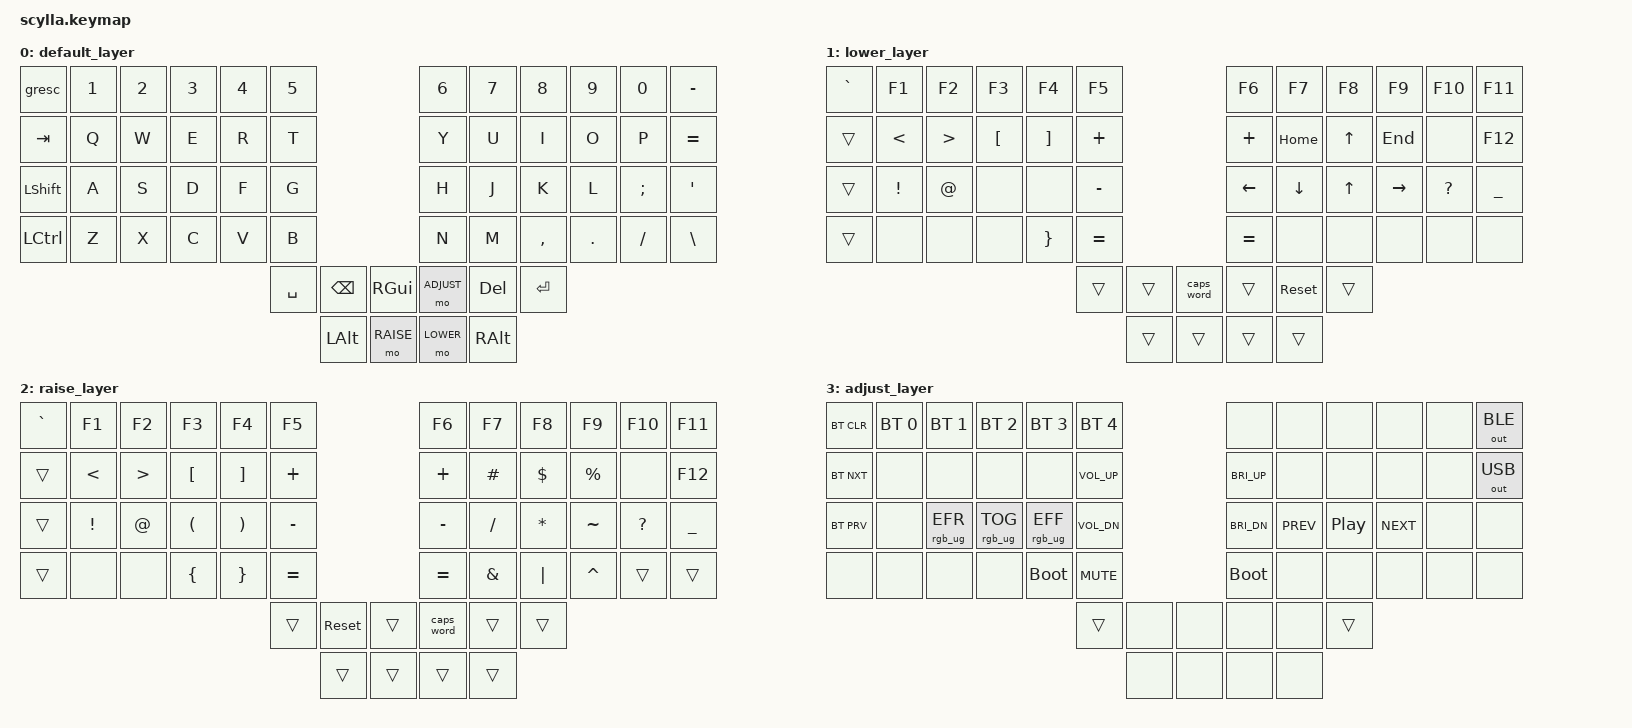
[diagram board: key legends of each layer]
/*
 * Copyright (c) 2022 Christian Eiden
 *
 * SPDX-License-Identifier: MIT
 */

#include <behaviors.dtsi>
#include <dt-bindings/zmk/keys.h>
#include <dt-bindings/zmk/bt.h>
#include <dt-bindings/zmk/outputs.h>
#include <dt-bindings/zmk/rgb.h>

#define DEFAULT 0
#define LOWER   1
#define RAISE   2
#define ADJUST  3

&caps_word {
    continue-list = <UNDERSCORE MINUS DEL BSPC LSHFT RSHFT>;
};

/ {

  // enable ADJUST Layer
  // conditional_layers {
   //   compatible = "zmk,conditional-layers";
   //   tri_layer {
   //       if-layers = <LOWER RAISE>;
   //       then-layer = <ADJUST>;
  //    };
  // };

  behaviors {

      // used for SPACE/SHIFT and ENTER/CMD
      omt: own_mod_tap {
        compatible = "zmk,behavior-hold-tap";
        label = "OWN_MOD_TAP";
        #binding-cells = <2>;
        flavor = "hold-preferred";
        tapping-term-ms = <160>;
        quick-tap-ms = <200>;
        bindings = <&kp>, <&kp>;
      };

      // used for Layers/BSPC/DEL
      olt: own_layer_tap {
        compatible = "zmk,behavior-hold-tap";
        label = "OWN_LAYER_TAP";
        #binding-cells = <2>;
        flavor = "hold-preferred";
        tapping-term-ms = <160>;
        quick-tap-ms = <200>;
        bindings = <&mo>, <&kp>;
      };
  };

  keymap {
    compatible = "zmk,keymap";

    default_layer {
// .-----------------------------------------.                                  .-----------------------------------------.
// | Esc  |   1  |   2  |   3  |   4  |   5  |                                  |   6  |   7  |   8  |   9  |   0  |  -   |
// |------+------+------+------+------+------|                                  |------+------+------+------+------+------|
// | Tab> |   Q  |   W  |   E  |   R  |   T  |                                  |   Y  |   U  |   I  |   O  |   P  |  +   |
// |------+------+------+------+------+------|                                  |------+------+------+------+------+------|
// | Shft |   A  |   S  |   D  |   F  |   G  |                                  |   H  |   J  |   K  |   L  |   ;  |  '   |
// |------+------+------+------+------+------|                                  |------+------+------+------+------+------|
// | Ctrl |   Z  |   X  |   C  |   V  |   B  |                                  |   N  |   M  |   ,  |  .   |   /  |   \  |
// '-----------------------------------------/                                  \-----------------------------------------'
//                                  /  Ctrl /---------------.    .---------------\  RGUI  \  
//                                 /       / SPACE / RAISE /      \ LOWER \ ENTER \        \ 
//                                '-------/       /       /        \       \       \--------'
//                                       /---------------/          \---------------\
//                                      /  ALT  /  BSPC /            \ADJUST \ RALT  \
//                                     /       /       /              \       \       \
//                                    '---------------'                '---------------'

      bindings = <
&gresc     &kp N1  &kp N2  &kp N3  &kp N4  &kp N5                                                  &kp N6     &kp N7  &kp N8     &kp N9   &kp N0     &kp MINUS
&kp TAB    &kp Q   &kp W   &kp E   &kp R   &kp T                                                   &kp  Y      &kp U   &kp I      &kp O    &kp P   &kp EQUAL 
&kp LSHFT   &kp A   &kp S   &kp D   &kp F   &kp G                                                   &kp H      &kp J   &kp K      &kp L    &kp SEMI   &kp SQT
&kp LCTRL  &kp Z   &kp X   &kp C   &kp V   &kp B                                                   &kp N      &kp M   &kp COMMA  &kp DOT  &kp SLASH  &kp BSLH
                                           &kp SPACE &kp BSPC &kp RGUI    &mo ADJUST  &kp DEL  &kp ENTER
                                                   &kp LALT   &mo RAISE   &mo LOWER    &kp RALT
      >;
    };

    lower_layer {
// .-----------------------------------------.                                  .-----------------------------------------.
// |   ~  |  F1  |  F2  |  F3  |  F4  |  F5  |                                  |  F6  |  F7  |  F8  |  F9  |  F10 |  F11 |
// |------+------+------+------+------+------|                                  |------+------+------+------+------+------|
// |      |  <   |  >   |   [  |   ]  |   +  |                                  |  +   | home |      | end  |      |  F12 |
// |------+------+------+------+------+------|                                  |------+------+------+------+------+------|
// |      |  !   |  @   |   (  |   )  |   -  |                                  |  up  | left | down | rght |  ?   |  _   |
// |------+------+------+------+------+------|                                  |------+------+------+------+------+------|
// |      |      |      |   {  |   }  |   =  |                                  |  =   |      |      |      |      |      |
// '-----------------------------------------/                                  \-----------------------------------------'
//                                  /       /---------------.    .---------------\   #   \
//                                 /       /       /  CAPS /      \       \ Reset \       \
//                                '-------/       /       /        \       \       \-------'
//                                       /---------------/          \---------------\
//                                      /       /       /            \       \  Boot \
//                                     /       /       /              \       \       \
//                                    '---------------'                '---------------'

      bindings = <
&kp GRAVE  &kp F1    &kp F2  &kp F3    &kp F4    &kp F5                                              &kp F6     &kp F7    &kp F8    &kp F9     &kp F10    &kp F11
&trans     &kp LT    &kp GT  &kp LBKT  &kp RBKT  &kp PLUS                                            &kp PLUS   &kp HOME  &kp UP    &kp END    &none      &kp F12
&trans     &kp EXCL  &kp AT  &none     &none     &kp MINUS                                           &kp LEFT   &kp DOWN  &kp UP    &kp RIGHT  &kp QMARK  &kp UNDER
&trans     &none     &none   &none     &kp RBRC  &kp EQUAL                                           &kp EQUAL  &none     &none     &none      &none      &none
                                                 &trans     &trans  &caps_word  &trans   &sys_reset  &trans
                                                            &trans  &trans      &trans   &trans
      >;
    };

    raise_layer {
// .-----------------------------------------.                                  .-----------------------------------------.
// |   `  |  F1  |  F2  |  F3  |  F4  |  F5  |                                  |  F6  |  F7  |  F8  |  F9  |  F10 |  F11 |
// |------+------+------+------+------+------|                                  |------+------+------+------+------+------|
// |      |  <   |  >   |   [  |   ]  |   +  |                                  |  +   |   #  |  $   |  %   |      |  F12 |
// |------+------+------+------+------+------|                                  |------+------+------+------+------+------|
// |      |  !   |  @   |   (  |   )  |   -  |                                  |  -   |   /  |  *   |  ~   |  ?   |  _   |
// |------+------+------+------+------+------|                                  |------+------+------+------+------+------|
// |      |      |      |   {  |   }  |   =  |                                  |  =   |   &  |  |   |  ^   |      |      |
// '-----------------------------------------/                                  \-----------------------------------------'
//                                  /   #   /---------------.    .---------------\       \
//                                 /       / Reset /       /      \ CAPS  \       \       \
//                                '-------/       /       /        \       \       \-------'
//                                       /---------------/          \---------------\
//                                      /  Boot /       /            \       \       \
//                                     /       /       /              \       \       \
//                                    '---------------'                '---------------'
          
      bindings = <
&kp GRAVE  &kp F1    &kp F2  &kp F3    &kp F4    &kp F5                                              &kp F6     &kp F7    &kp F8    &kp F9     &kp F10    &kp F11
&trans     &kp LT    &kp GT  &kp LBKT  &kp RBKT  &kp PLUS                                            &kp PLUS   &kp HASH  &kp DLLR  &kp PRCNT  &none      &kp F12
&trans     &kp EXCL  &kp AT  &kp LPAR  &kp RPAR  &kp MINUS                                           &kp MINUS  &kp FSLH  &kp STAR  &kp TILDE  &kp QMARK  &kp UNDER
&trans     &none     &none   &kp LBRC  &kp RBRC  &kp EQUAL                                           &kp EQUAL  &kp AMPS  &kp PIPE  &kp CARET  &trans     &trans
                                                 &trans     &sys_reset   &trans   &caps_word  &trans  &trans
                                                            &trans  &trans   &trans      &trans
      >;
    };

    adjust_layer {
// .-----------------------------------------.                                  .-----------------------------------------.
// |BT Clr| BT1  | BT2  | BT3  | BT4  | BT5  |                                  |      |      |      |      |      |  BLE |
// |------+------+------+------+------+------|                                  |------+------+------+------+------+------|
// |BT Nxt|      |      |      |      |  V+  |                                  |  B + |      |      |      |      |  USB |
// |------+------+------+------+------+------|                                  |------+------+------+------+------+------|
// |BT Prv|      |      |      |      |  V-  |                                  |  B - |  <<  | play |  >>  |      |      |
// |------+------+------+------+------+------|                                  |------+------+------+------+------+------|
// |      |      |      |      |      | Mute |                                  |      |      |      |      |      |      |
// '-----------------------------------------/                                  \-----------------------------------------'
//                                  /   #   /---------------.    .---------------\   #   \
//                                 /       /       /       /      \       \       \       \ 
//                                '-------/       /       /        \       \       \-------'
//                                       /---------------/          \---------------\
//                                      /       /       /            \       \       \
//                                     /       /       /              \       \       \
//                                    '---------------'                '---------------'
          
      bindings = <
&bt BT_CLR  &bt BT_SEL 0  &bt BT_SEL 1  &bt BT_SEL 2  &bt BT_SEL 3  &bt BT_SEL 4                              &none         &none       &none     &none       &none  &out OUT_BLE
&bt BT_NXT  &none         &none         &none         &none         &kp C_VOL_UP                              &kp C_BRI_UP  &none       &none     &none       &none  &out OUT_USB
&bt BT_PRV  &none    &rgb_ug RGB_EFR &rgb_ug RGB_TOG &rgb_ug RGB_EFF &kp C_VOL_DN                              &kp C_BRI_DN  &kp C_PREV  &kp C_PP  &kp C_NEXT  &none  &none
&none       &none         &none         &none         &bootloader         &kp C_MUTE                                &bootloader         &none       &none     &none       &none  &none
                                                                    &trans        &none  &none  &none  &none  &trans
                                                                                  &none  &none  &none  &none
      >;
    };

  };
};
